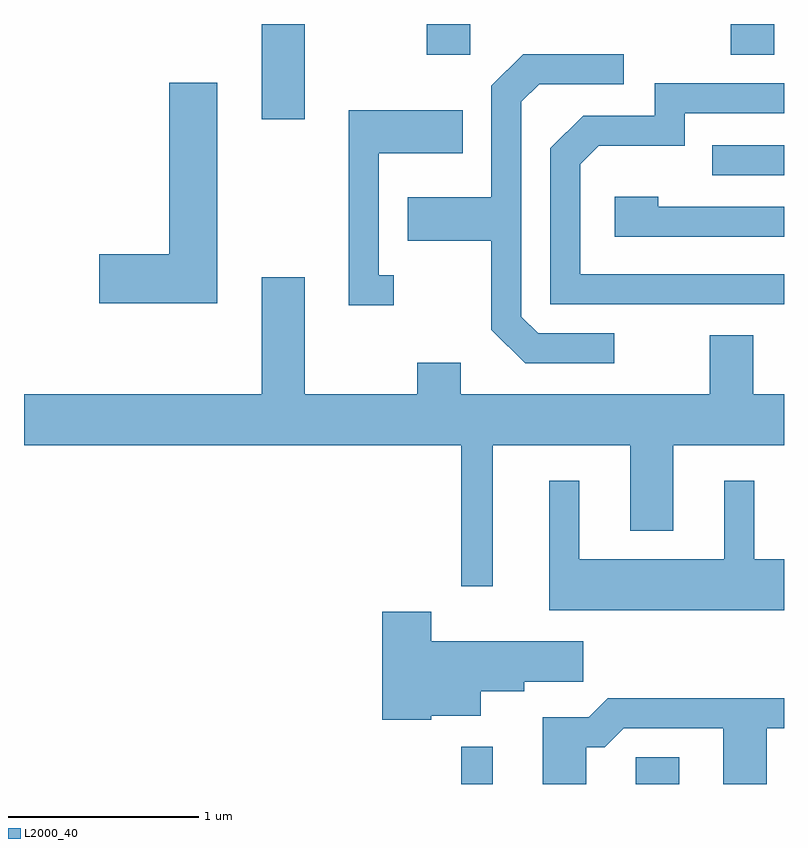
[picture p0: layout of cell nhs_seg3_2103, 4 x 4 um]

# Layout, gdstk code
import gdstk
lib = gdstk.Library(unit=1e-6, precision=1e-09)
def R(c, l, rs):  # rectangles x0, y0, x1, y1
    for r in rs: c.add(gdstk.rectangle(r[:2], r[2:], *l))
def P(c, l, *ps):  # polygons
    for p in ps: c.add(gdstk.Polygon(p, *l))
L2000_40 = (2000, 40)

nhs_seg3_2103 = lib.new_cell('nhs_seg3_2103')
R(nhs_seg3_2103, L2000_40, [(247.911,1241.892,248.079,1242.088), (248.831,1241.892,249.059,1242.034), (249.233,1245.096,249.611,1245.254), (246.861,1245.391,247.089,1245.892), (247.731,1245.731,247.959,1245.892), (249.331,1245.731,249.559,1245.892)])
P(nhs_seg3_2103, L2000_40, [(248.718,1244.264),(248.317,1244.264),(248.229,1244.352),(248.229,1245.484),(248.322,1245.576),(248.768,1245.576),(248.768,1245.734),(248.239,1245.734),(248.071,1245.567),(248.071,1244.979),(247.631,1244.979),(247.631,1244.751),(248.071,1244.751),(248.071,1244.284),(248.249,1244.106),(248.718,1244.106)],
  [(246.629,1245.584),(246.376,1245.584),(246.376,1244.679),(246.006,1244.679),(246.006,1244.421),(246.629,1244.421)],
  [(249.611,1244.574),(248.539,1244.574),(248.539,1245.154),(248.637,1245.251),(249.089,1245.251),(249.089,1245.421),(249.611,1245.421),(249.611,1245.579),(248.931,1245.579),(248.931,1245.409),(248.554,1245.409),(248.381,1245.237),(248.381,1244.416),(249.611,1244.416)],
  [(247.558,1244.569),(247.479,1244.569),(247.479,1245.211),(247.919,1245.211),(247.919,1245.439),(247.321,1245.439),(247.321,1244.411),(247.558,1244.411)],
  [(249.611,1244.929),(248.949,1244.929),(248.949,1244.984),(248.721,1244.984),(248.721,1244.771),(249.611,1244.771)],
  [(248.079,1243.676),(248.801,1243.676),(248.801,1243.226),(249.029,1243.226),(249.029,1243.676),(249.611,1243.676),(249.611,1243.944),(249.449,1243.944),(249.449,1244.254),(249.221,1244.254),(249.221,1243.944),(247.909,1243.944),(247.909,1244.109),(247.681,1244.109),(247.681,1243.944),(247.089,1243.944),(247.089,1244.559),(246.861,1244.559),(246.861,1243.944),(245.611,1243.944),(245.611,1243.676),(247.911,1243.676),(247.911,1242.933),(248.079,1242.933)],
  [(249.611,1243.074),(249.454,1243.074),(249.454,1243.488),(249.296,1243.488),(249.296,1243.074),(248.534,1243.074),(248.534,1243.488),(248.376,1243.488),(248.376,1242.806),(249.611,1242.806)],
  [(247.754,1242.251),(248.014,1242.251),(248.014,1242.381),(248.244,1242.381),(248.244,1242.431),(248.554,1242.431),(248.554,1242.644),(247.754,1242.644),(247.754,1242.799),(247.496,1242.799),(247.496,1242.231),(247.754,1242.231)],
  [(248.569,1242.086),(248.667,1242.086),(248.767,1242.186),(249.291,1242.186),(249.291,1241.892),(249.519,1241.892),(249.519,1242.186),(249.611,1242.186),(249.611,1242.344),(248.684,1242.344),(248.584,1242.244),(248.341,1242.244),(248.341,1241.892),(248.569,1241.892)])

lib.write_gds('nhs_seg3_2103.gds')
